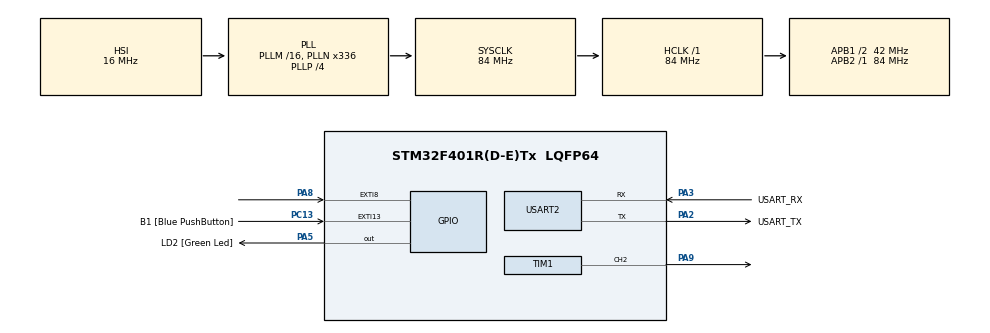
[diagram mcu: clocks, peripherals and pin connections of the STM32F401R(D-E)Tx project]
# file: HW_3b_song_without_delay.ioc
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Mcu.Family=STM32F4
Mcu.Name=STM32F401R(D-E)Tx
Mcu.Package=LQFP64
NVIC.EXTI9_5_IRQn=true\:1\:0\:true\:false\:true\:true\:true\:true
NVIC.PriorityGroup=NVIC_PRIORITYGROUP_1
NVIC.TIM2_IRQn=true\:0\:0\:true\:false\:true\:true\:true\:true
PA13.GPIO_Label=TMS
PA13.Mode=Serial_Wire
PA13.Signal=SYS_JTMS-SWDIO
PA14.GPIO_Label=TCK
PA14.Mode=Serial_Wire
PA14.Signal=SYS_JTCK-SWCLK
PA2.GPIO_Label=USART_TX
PA2.GPIO_Mode=GPIO_MODE_AF_PP
PA2.GPIO_PuPd=GPIO_NOPULL
PA2.GPIO_Speed=GPIO_SPEED_FREQ_LOW
PA2.Mode=Asynchronous
PA2.Signal=USART2_TX
PA3.GPIO_Label=USART_RX
PA3.GPIO_Mode=GPIO_MODE_AF_PP
PA3.GPIO_PuPd=GPIO_NOPULL
PA3.GPIO_Speed=GPIO_SPEED_FREQ_LOW
PA3.Mode=Asynchronous
PA3.Signal=USART2_RX
PA5.GPIO_Label=LD2 [Green Led]
PA5.GPIO_Mode=GPIO_MODE_OUTPUT_PP
PA5.GPIO_PuPd=GPIO_NOPULL
PA5.GPIO_Speed=GPIO_SPEED_FREQ_LOW
PA5.Signal=GPIO_Output
PA8.Signal=GPXTI8
PA9.Signal=S_TIM1_CH2
PB3.GPIO_Label=SWO
PB3.Signal=SYS_JTDO-SWO
PC13-ANTI_TAMP.GPIO_Label=B1 [Blue PushButton]
PC13-ANTI_TAMP.GPIO_ModeDefaultEXTI=GPIO_MODE_IT_FALLING
PC13-ANTI_TAMP.GPIO_PuPd=GPIO_NOPULL
PC13-ANTI_TAMP.Signal=GPXTI13
PC14-OSC32_IN.Mode=LSE-External-Oscillator
PC14-OSC32_IN.Signal=RCC_OSC32_IN
PC15-OSC32_OUT.Mode=LSE-External-Oscillator
PC15-OSC32_OUT.Signal=RCC_OSC32_OUT
PH0\ -\ OSC_IN.Mode=HSE-External-Clock-Source
PH0\ -\ OSC_IN.Signal=RCC_OSC_IN
PH1\ -\ OSC_OUT.Mode=HSE-External-Clock-Source
PH1\ -\ OSC_OUT.Signal=RCC_OSC_OUT
ProjectManager.HeapSize=0x200
ProjectManager.StackSize=0x400
ProjectManager.TargetToolchain=STM32CubeIDE
RCC.48MHZClocksFreq_Value=48000000
RCC.AHBFreq_Value=84000000
RCC.APB1CLKDivider=RCC_HCLK_DIV2
RCC.APB1Freq_Value=42000000
RCC.APB1TimFreq_Value=84000000
RCC.APB2Freq_Value=84000000
RCC.APB2TimFreq_Value=84000000
RCC.CortexFreq_Value=84000000
RCC.HCLKFreq_Value=84000000
RCC.HSE_VALUE=8000000
RCC.HSI_VALUE=16000000
RCC.PLLN=336
RCC.PLLP=RCC_PLLP_DIV4
RCC.PLLQ=7
RCC.SYSCLKFreq_VALUE=84000000
RCC.SYSCLKSource=RCC_SYSCLKSOURCE_PLLCLK
RCC.VCOOutputFreq_Value=336000000
SH.S_TIM1_CH2.0=TIM1_CH2,PWM Generation2 CH2
TIM1.Channel-PWM\ Generation2\ CH2=TIM_CHANNEL_2
TIM1.Period=1909
TIM1.Prescaler=99
TIM1.Pulse-PWM\ Generation2\ CH2=954
TIM2.Period=750
TIM2.Prescaler=8400-1
USART2.VirtualMode=VM_ASYNC
VP_TIM1_VS_ClockSourceINT.Mode=Internal
VP_TIM2_VS_ClockSourceINT.Mode=Internal
board=NUCLEO-F401RE

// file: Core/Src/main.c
/* USER CODE BEGIN Header */
/**
  ******************************************************************************
  * @file           : main.c
  * @brief          : Main program body
  ******************************************************************************
  * @attention
  *
  * Copyright (c) 2024 STMicroelectronics.
  * All rights reserved.
  *
  * This software is licensed under terms that can be found in the LICENSE file
  * in the root directory of this software component.
  * If no LICENSE file comes with this software, it is provided AS-IS.
  *
  ******************************************************************************
  */
/* USER CODE END Header */
#include "main.h"

/* USER CODE BEGIN PTD */
struct note {
	int tone;
	int duration;
};
/* USER CODE END PTD */

/* USER CODE BEGIN PD */
#define PRESCALER 100
#define TIM_F 84000000/PRESCALER
#define _DO4 TIM_F/262
#define _DOD4 TIM_F/277
#define _RE4 TIM_F/294
#define _RED4 TIM_F/311
#define _MI4 TIM_F/330
#define _FA4 TIM_F/349
#define _FAD4 TIM_F/370
#define _SOL4 TIM_F/392
#define _SOLD4 TIM_F/415
#define _LA4 TIM_F/440
#define _LAD4 TIM_F/466
#define _SI4 TIM_F/494
#define PAUSA 999999	//PAUSA has been added to add pause and compose more complex songs,
						//it has been added also for terminate a song without any sound not to trigger the microphone in loop
#define TEMPO 100
/* USER CODE END PD */

TIM_HandleTypeDef htim1;
TIM_HandleTypeDef htim2;

UART_HandleTypeDef huart2;

/* USER CODE BEGIN PV */
struct note score[] = {
		// --- London Bridge is Falling Down --- //
		{_SOL4, 6},
		{_LA4, 2},
		{_SOL4, 4},
		{_FA4, 4},
		{_MI4, 4},
		{_FA4, 4},
		{_SOL4, 8},
		{_RE4, 4},
		{_MI4, 4},
		{_FA4, 8},
		{_MI4, 4},
		{_FA4, 4},
		{_SOL4, 8},
		{_SOL4, 6},
		{_LA4, 2},
		{_SOL4, 4},
		{_FA4, 4},
		{_MI4, 4},
		{_FA4, 4},
		{_SOL4, 8},
		{_RE4, 8},
		{_SOL4, 8},
		{_MI4, 4},
		{_DO4, 12},
		{PAUSA, 2} //This terminates the song, we put 2 but whatever value is enough to avoid loops
};
/* USER CODE END PV */

void SystemClock_Config(void);
static void MX_GPIO_Init(void);
static void MX_USART2_UART_Init(void);
static void MX_TIM2_Init(void);
static void MX_TIM1_Init(void);

/* USER CODE BEGIN 0 */

int note_playing_flag;
int current_note_index= sizeof(score)/sizeof(score[0]);

void playnote(struct note note_playing) {
	  TIM_ClockConfigTypeDef sClockSourceConfig = {0};
	  TIM_MasterConfigTypeDef sMasterConfig = {0};
	  TIM_OC_InitTypeDef sConfigOC = {0};
	  TIM_BreakDeadTimeConfigTypeDef sBreakDeadTimeConfig = {0};

	  htim1.Instance = TIM1;
	  htim1.Init.Prescaler = PRESCALER-1;
	  htim1.Init.CounterMode = TIM_COUNTERMODE_UP;
	  htim1.Init.Period = note_playing.tone;
	  htim1.Init.ClockDivision = TIM_CLOCKDIVISION_DIV1;
	  htim1.Init.RepetitionCounter = 0;
	  htim1.Init.AutoReloadPreload = TIM_AUTORELOAD_PRELOAD_DISABLE;

	  if (HAL_TIM_Base_Init(&htim1) != HAL_OK) Error_Handler();
	  sClockSourceConfig.ClockSource = TIM_CLOCKSOURCE_INTERNAL;
	  if (HAL_TIM_ConfigClockSource(&htim1, &sClockSourceConfig) != HAL_OK) Error_Handler();
	  if (HAL_TIM_PWM_Init(&htim1) != HAL_OK) Error_Handler();
	  sMasterConfig.MasterOutputTrigger = TIM_TRGO_RESET;
	  sMasterConfig.MasterSlaveMode = TIM_MASTERSLAVEMODE_DISABLE;
	  if (HAL_TIMEx_MasterConfigSynchronization(&htim1, &sMasterConfig) != HAL_OK) Error_Handler();
	  sConfigOC.OCMode = TIM_OCMODE_PWM1;
	  sConfigOC.Pulse = note_playing.tone/2; // 50% Duty Cycle for correct sound generation
	  sConfigOC.OCPolarity = TIM_OCPOLARITY_HIGH;
	  sConfigOC.OCNPolarity = TIM_OCNPOLARITY_HIGH;
	  sConfigOC.OCFastMode = TIM_OCFAST_DISABLE;
	  sConfigOC.OCIdleState = TIM_OCIDLESTATE_RESET;
	  sConfigOC.OCNIdleState = TIM_OCNIDLESTATE_RESET;
	  if (HAL_TIM_PWM_ConfigChannel(&htim1, &sConfigOC, TIM_CHANNEL_2) != HAL_OK) Error_Handler();
	  sBreakDeadTimeConfig.OffStateRunMode = TIM_OSSR_DISABLE;
	  sBreakDeadTimeConfig.OffStateIDLEMode = TIM_OSSI_DISABLE;
	  sBreakDeadTimeConfig.LockLevel = TIM_LOCKLEVEL_OFF;
	  sBreakDeadTimeConfig.DeadTime = 0;
	  sBreakDeadTimeConfig.BreakState = TIM_BREAK_DISABLE;
	  sBreakDeadTimeConfig.BreakPolarity = TIM_BREAKPOLARITY_HIGH;
	  sBreakDeadTimeConfig.AutomaticOutput = TIM_AUTOMATICOUTPUT_DISABLE;
	  if (HAL_TIMEx_ConfigBreakDeadTime(&htim1, &sBreakDeadTimeConfig) != HAL_OK) Error_Handler();

	  /* USER CODE BEGIN TIM1_Init 2 */
	  HAL_TIM_PWM_Start(&htim1, TIM_CHANNEL_2);
	  note_playing_flag = note_playing.duration;
	  /* USER CODE END TIM1_Init 2 */
}

void playsong() {
	note_playing_flag = 0;
	current_note_index = 0;
	playnote(score[current_note_index]);
}

void HAL_TIM_PeriodElapsedCallback(TIM_HandleTypeDef *htim) {
	if (htim == &htim2) {
		note_playing_flag--;
		if (note_playing_flag == 0) {	// If note duration has been entirely played
			HAL_TIM_PWM_Stop(&htim1, TIM_CHANNEL_2);
			current_note_index++;
			if (current_note_index < sizeof(score)/sizeof(score[0]))
				playnote(score[current_note_index]);
		}
	}
}

void HAL_GPIO_EXTI_Callback(uint16_t GPIO_Pin) {
	switch (GPIO_Pin) {
		case GPIO_PIN_8:
			if (current_note_index >= sizeof(score)/sizeof(score[0])) playsong();
			__HAL_GPIO_EXTI_CLEAR_IT(GPIO_Pin);
			break;
		default: break;
	}
}

/* USER CODE END 0 */

int main(void)
{

  /* MCU Configuration--------------------------------------------------------*/

  /* Reset of all peripherals, Initializes the Flash interface and the Systick. */
  HAL_Init();

  /* Configure the system clock */
  SystemClock_Config();

  /* Initialize all configured peripherals */
  MX_GPIO_Init();
  MX_USART2_UART_Init();
  MX_TIM2_Init();
  MX_TIM1_Init();
  /* USER CODE BEGIN 2 */
  HAL_TIM_Base_Start_IT (&htim2);
  /* USER CODE END 2 */

  /* Infinite loop */
  while (1)
  {

  }
}

void SystemClock_Config(void)
{
  RCC_OscInitTypeDef RCC_OscInitStruct = {0};
  RCC_ClkInitTypeDef RCC_ClkInitStruct = {0};

  /** Configure the main internal regulator output voltage
  */
  __HAL_RCC_PWR_CLK_ENABLE();
  __HAL_PWR_VOLTAGESCALING_CONFIG(PWR_REGULATOR_VOLTAGE_SCALE2);

  /** Initializes the RCC Oscillators according to the specified parameters
  * in the RCC_OscInitTypeDef structure.
  */
  RCC_OscInitStruct.OscillatorType = RCC_OSCILLATORTYPE_HSI;
  RCC_OscInitStruct.HSIState = RCC_HSI_ON;
  RCC_OscInitStruct.HSICalibrationValue = RCC_HSICALIBRATION_DEFAULT;
  RCC_OscInitStruct.PLL.PLLState = RCC_PLL_ON;
  RCC_OscInitStruct.PLL.PLLSource = RCC_PLLSOURCE_HSI;
  RCC_OscInitStruct.PLL.PLLM = 16;
  RCC_OscInitStruct.PLL.PLLN = 336;
  RCC_OscInitStruct.PLL.PLLP = RCC_PLLP_DIV4;
  RCC_OscInitStruct.PLL.PLLQ = 7;
  if (HAL_RCC_OscConfig(&RCC_OscInitStruct) != HAL_OK)
  {
    Error_Handler();
  }

  /** Initializes the CPU, AHB and APB buses clocks
  */
  RCC_ClkInitStruct.ClockType = RCC_CLOCKTYPE_HCLK|RCC_CLOCKTYPE_SYSCLK
                              |RCC_CLOCKTYPE_PCLK1|RCC_CLOCKTYPE_PCLK2;
  RCC_ClkInitStruct.SYSCLKSource = RCC_SYSCLKSOURCE_PLLCLK;
  RCC_ClkInitStruct.AHBCLKDivider = RCC_SYSCLK_DIV1;
  RCC_ClkInitStruct.APB1CLKDivider = RCC_HCLK_DIV2;
  RCC_ClkInitStruct.APB2CLKDivider = RCC_HCLK_DIV1;

  if (HAL_RCC_ClockConfig(&RCC_ClkInitStruct, FLASH_LATENCY_2) != HAL_OK)
  {
    Error_Handler();
  }
}

static void MX_TIM1_Init(void)
{

  TIM_ClockConfigTypeDef sClockSourceConfig = {0};
  TIM_MasterConfigTypeDef sMasterConfig = {0};
  TIM_OC_InitTypeDef sConfigOC = {0};
  TIM_BreakDeadTimeConfigTypeDef sBreakDeadTimeConfig = {0};

  htim1.Instance = TIM1;
  htim1.Init.Prescaler = 99;
  htim1.Init.CounterMode = TIM_COUNTERMODE_UP;
  htim1.Init.Period = 1909;
  htim1.Init.ClockDivision = TIM_CLOCKDIVISION_DIV1;
  htim1.Init.RepetitionCounter = 0;
  htim1.Init.AutoReloadPreload = TIM_AUTORELOAD_PRELOAD_DISABLE;
  if (HAL_TIM_Base_Init(&htim1) != HAL_OK)
  {
    Error_Handler();
  }
  sClockSourceConfig.ClockSource = TIM_CLOCKSOURCE_INTERNAL;
  if (HAL_TIM_ConfigClockSource(&htim1, &sClockSourceConfig) != HAL_OK)
  {
    Error_Handler();
  }
  if (HAL_TIM_PWM_Init(&htim1) != HAL_OK)
  {
    Error_Handler();
  }
  sMasterConfig.MasterOutputTrigger = TIM_TRGO_RESET;
  sMasterConfig.MasterSlaveMode = TIM_MASTERSLAVEMODE_DISABLE;
  if (HAL_TIMEx_MasterConfigSynchronization(&htim1, &sMasterConfig) != HAL_OK)
  {
    Error_Handler();
  }
  sConfigOC.OCMode = TIM_OCMODE_PWM1;
  sConfigOC.Pulse = 954;
  sConfigOC.OCPolarity = TIM_OCPOLARITY_HIGH;
  sConfigOC.OCNPolarity = TIM_OCNPOLARITY_HIGH;
  sConfigOC.OCFastMode = TIM_OCFAST_DISABLE;
  sConfigOC.OCIdleState = TIM_OCIDLESTATE_RESET;
  sConfigOC.OCNIdleState = TIM_OCNIDLESTATE_RESET;
  if (HAL_TIM_PWM_ConfigChannel(&htim1, &sConfigOC, TIM_CHANNEL_2) != HAL_OK)
  {
    Error_Handler();
  }
  sBreakDeadTimeConfig.OffStateRunMode = TIM_OSSR_DISABLE;
  sBreakDeadTimeConfig.OffStateIDLEMode = TIM_OSSI_DISABLE;
  sBreakDeadTimeConfig.LockLevel = TIM_LOCKLEVEL_OFF;
  sBreakDeadTimeConfig.DeadTime = 0;
  sBreakDeadTimeConfig.BreakState = TIM_BREAK_DISABLE;
  sBreakDeadTimeConfig.BreakPolarity = TIM_BREAKPOLARITY_HIGH;
  sBreakDeadTimeConfig.AutomaticOutput = TIM_AUTOMATICOUTPUT_DISABLE;
  if (HAL_TIMEx_ConfigBreakDeadTime(&htim1, &sBreakDeadTimeConfig) != HAL_OK)
  {
    Error_Handler();
  }
  /* USER CODE BEGIN TIM1_Init 2 */
	  HAL_TIM_PWM_Start(&htim1, TIM_CHANNEL_2);
	  note_playing_flag = note_playing.duration;
  /* USER CODE END TIM1_Init 2 */
  HAL_TIM_MspPostInit(&htim1);

}

static void MX_TIM2_Init(void)
{

  TIM_ClockConfigTypeDef sClockSourceConfig = {0};
  TIM_MasterConfigTypeDef sMasterConfig = {0};

  htim2.Instance = TIM2;
  htim2.Init.Prescaler = 8400-1;
  htim2.Init.CounterMode = TIM_COUNTERMODE_UP;
  htim2.Init.Period = 750;
  htim2.Init.ClockDivision = TIM_CLOCKDIVISION_DIV1;
  htim2.Init.AutoReloadPreload = TIM_AUTORELOAD_PRELOAD_DISABLE;
  if (HAL_TIM_Base_Init(&htim2) != HAL_OK)
  {
    Error_Handler();
  }
  sClockSourceConfig.ClockSource = TIM_CLOCKSOURCE_INTERNAL;
  if (HAL_TIM_ConfigClockSource(&htim2, &sClockSourceConfig) != HAL_OK)
  {
    Error_Handler();
  }
  sMasterConfig.MasterOutputTrigger = TIM_TRGO_RESET;
  sMasterConfig.MasterSlaveMode = TIM_MASTERSLAVEMODE_DISABLE;
  if (HAL_TIMEx_MasterConfigSynchronization(&htim2, &sMasterConfig) != HAL_OK)
  {
    Error_Handler();
  }

}

static void MX_USART2_UART_Init(void)
{

  huart2.Instance = USART2;
  huart2.Init.BaudRate = 115200;
  huart2.Init.WordLength = UART_WORDLENGTH_8B;
  huart2.Init.StopBits = UART_STOPBITS_1;
  huart2.Init.Parity = UART_PARITY_NONE;
  huart2.Init.Mode = UART_MODE_TX_RX;
  huart2.Init.HwFlowCtl = UART_HWCONTROL_NONE;
  huart2.Init.OverSampling = UART_OVERSAMPLING_16;
  if (HAL_UART_Init(&huart2) != HAL_OK)
  {
    Error_Handler();
  }

}

static void MX_GPIO_Init(void)
{
  GPIO_InitTypeDef GPIO_InitStruct = {0};

  /* GPIO Ports Clock Enable */
  __HAL_RCC_GPIOC_CLK_ENABLE();
  __HAL_RCC_GPIOH_CLK_ENABLE();
  __HAL_RCC_GPIOA_CLK_ENABLE();
  __HAL_RCC_GPIOB_CLK_ENABLE();

  /*Configure GPIO pin Output Level */
  HAL_GPIO_WritePin(LD2_GPIO_Port, LD2_Pin, GPIO_PIN_RESET);

  /*Configure GPIO pin : B1_Pin */
  GPIO_InitStruct.Pin = B1_Pin;
  GPIO_InitStruct.Mode = GPIO_MODE_IT_FALLING;
  GPIO_InitStruct.Pull = GPIO_NOPULL;
  HAL_GPIO_Init(B1_GPIO_Port, &GPIO_InitStruct);

  /*Configure GPIO pin : LD2_Pin */
  GPIO_InitStruct.Pin = LD2_Pin;
  GPIO_InitStruct.Mode = GPIO_MODE_OUTPUT_PP;
  GPIO_InitStruct.Pull = GPIO_NOPULL;
  GPIO_InitStruct.Speed = GPIO_SPEED_FREQ_LOW;
  HAL_GPIO_Init(LD2_GPIO_Port, &GPIO_InitStruct);

  /*Configure GPIO pin : PA8 */
  GPIO_InitStruct.Pin = GPIO_PIN_8;
  GPIO_InitStruct.Mode = GPIO_MODE_IT_RISING;
  GPIO_InitStruct.Pull = GPIO_NOPULL;
  HAL_GPIO_Init(GPIOA, &GPIO_InitStruct);

  /* EXTI interrupt init*/
  HAL_NVIC_SetPriority(EXTI9_5_IRQn, 1, 0);
  HAL_NVIC_EnableIRQ(EXTI9_5_IRQn);

}

void Error_Handler(void)
{
  __disable_irq();
  while (1)
  {
  }
}
